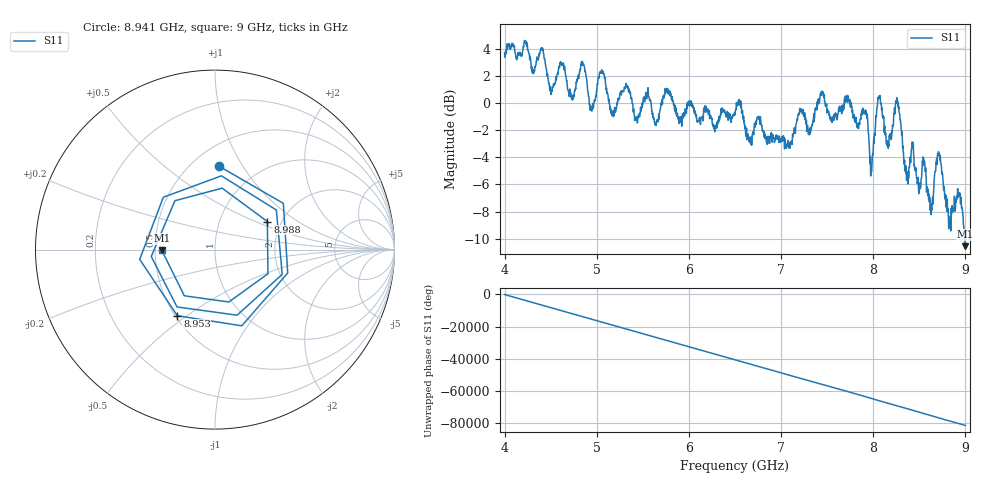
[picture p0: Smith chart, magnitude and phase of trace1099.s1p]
! Created with skrf 1.8.0 (http://scikit-rf.org).
# Hz S RI R 50.0
!freq ReS11 ImS11
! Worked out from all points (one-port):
!   1601 points, 4 GHz to 9 GHz, reference 50 ohm
!   lowest |S11| = -10.6 dB at 9 GHz (marker M1), VSWR 1.84, Z = 27.1 - j0.199 ohm
!   |S11| at or under -10 dB: 8.992057 GHz to end of sweep
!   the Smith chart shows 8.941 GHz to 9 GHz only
!   S11 on the Smith chart (normalised r, x): 8.941 GHz: 0.67, +0.79; 8.953 GHz: 0.51, -0.46; 8.988 GHz: 1.69, +0.59; 9 GHz: 0.54, -0.00
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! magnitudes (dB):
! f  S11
! 4 GHz  3.7
! 4.403 GHz  4.0
! 4.503 GHz  0.6
! 4.625 GHz  2.9
! 4.731 GHz  0.5
! 4.853 GHz  2.9
! 4.944 GHz  -0.6
! 5.053 GHz  2.4
! 5.166 GHz  -0.9
! 5.25 GHz  0.7
! 5.875 GHz  -0.8
! 6.5 GHz  -0.9
! 7.125 GHz  -2.3
! 7.75 GHz  0.2
! 7.916 GHz  -0.5
! 7.978 GHz  -4.8
! 8.062 GHz  0.5
! 8.166 GHz  -3.0
! 8.262 GHz  0.0
! 8.375 GHz  -6.0
! 8.55 GHz  -4.3
! 8.625 GHz  -7.4
! 8.709 GHz  -3.6
! 8.822 GHz  -8.6
! 8.941 GHz  -6.6
! 8.953 GHz  -7.5
! 8.988 GHz  -9.6
! 9 GHz  -10.6
